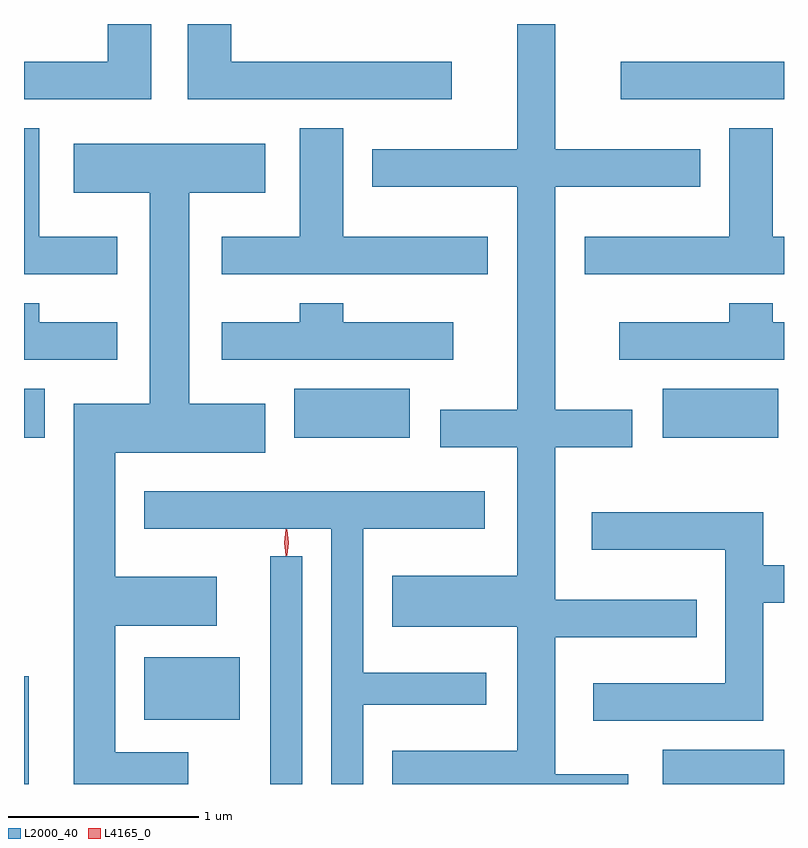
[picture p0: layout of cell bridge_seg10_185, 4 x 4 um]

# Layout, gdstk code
import gdstk
lib = gdstk.Library(unit=1e-6, precision=1e-09)
def R(c, l, rs):  # rectangles x0, y0, x1, y1
    for r in rs: c.add(gdstk.rectangle(r[:2], r[2:], *l))
def P(c, l, *ps):  # polygons
    for p in ps: c.add(gdstk.Polygon(p, *l))
L2000_40 = (2000, 40)
L4165_0 = (4165, 0)

bridge_seg10_185 = lib.new_cell('bridge_seg10_185')
R(bridge_seg10_185, L2000_40, [(1886.134,2140.973,1886.159,2141.539), (1887.431,2140.973,1887.599,2142.173), (1889.496,2140.973,1890.134,2141.154), (1886.766,2141.311,1887.269,2141.639), (1886.134,2142.796,1886.244,2143.054), (1887.556,2142.796,1888.164,2143.054), (1889.496,2142.796,1890.104,2143.054), (1889.276,2144.576,1890.134,2144.774)])
P(bridge_seg10_185, L2000_40, [(1888.384,2144.774),(1887.224,2144.774),(1887.224,2144.973),(1886.996,2144.973),(1886.996,2144.576),(1888.384,2144.576)],
  [(1886.804,2144.973),(1886.576,2144.973),(1886.576,2144.774),(1886.134,2144.774),(1886.134,2144.576),(1886.804,2144.576)],
  [(1889.314,2141.024),(1888.929,2141.024),(1888.929,2141.746),(1889.674,2141.746),(1889.674,2141.944),(1888.929,2141.944),(1888.929,2142.746),(1889.334,2142.746),(1889.334,2142.944),(1888.929,2142.944),(1888.929,2144.116),(1889.694,2144.116),(1889.694,2144.314),(1888.929,2144.314),(1888.929,2144.973),(1888.731,2144.973),(1888.731,2144.314),(1887.966,2144.314),(1887.966,2144.116),(1888.731,2144.116),(1888.731,2142.944),(1888.326,2142.944),(1888.326,2142.746),(1888.731,2142.746),(1888.731,2142.069),(1888.071,2142.069),(1888.071,2141.801),(1888.731,2141.801),(1888.731,2141.149),(1888.071,2141.149),(1888.071,2140.973),(1889.314,2140.973)],
  [(1888.574,2143.854),(1887.814,2143.854),(1887.814,2144.424),(1887.586,2144.424),(1887.586,2143.854),(1887.176,2143.854),(1887.176,2143.656),(1888.574,2143.656)],
  [(1890.134,2143.854),(1890.074,2143.854),(1890.074,2144.424),(1889.846,2144.424),(1889.846,2143.854),(1889.086,2143.854),(1889.086,2143.656),(1890.134,2143.656)],
  [(1886.624,2143.854),(1886.214,2143.854),(1886.214,2144.424),(1886.134,2144.424),(1886.134,2143.656),(1886.624,2143.656)],
  [(1886.999,2141.139),(1886.614,2141.139),(1886.614,2141.806),(1887.149,2141.806),(1887.149,2142.064),(1886.614,2142.064),(1886.614,2142.716),(1887.404,2142.716),(1887.404,2142.974),(1887.004,2142.974),(1887.004,2144.086),(1887.404,2144.086),(1887.404,2144.344),(1886.396,2144.344),(1886.396,2144.086),(1886.796,2144.086),(1886.796,2142.974),(1886.396,2142.974),(1886.396,2140.973),(1886.999,2140.973)],
  [(1888.394,2143.404),(1887.814,2143.404),(1887.814,2143.504),(1887.586,2143.504),(1887.586,2143.404),(1887.176,2143.404),(1887.176,2143.206),(1888.394,2143.206)],
  [(1890.134,2143.404),(1890.074,2143.404),(1890.074,2143.504),(1889.846,2143.504),(1889.846,2143.404),(1889.266,2143.404),(1889.266,2143.206),(1890.134,2143.206)],
  [(1886.624,2143.404),(1886.214,2143.404),(1886.214,2143.504),(1886.134,2143.504),(1886.134,2143.206),(1886.624,2143.206)],
  [(1887.919,2141.391),(1888.568,2141.391),(1888.568,2141.559),(1887.919,2141.559),(1887.919,2142.316),(1888.559,2142.316),(1888.559,2142.514),(1886.766,2142.514),(1886.766,2142.316),(1887.751,2142.316),(1887.751,2140.973),(1887.919,2140.973)],
  [(1890.024,2141.926),(1890.134,2141.926),(1890.134,2142.124),(1890.024,2142.124),(1890.024,2142.404),(1889.121,2142.404),(1889.121,2142.206),(1889.826,2142.206),(1889.826,2141.504),(1889.131,2141.504),(1889.131,2141.306),(1890.024,2141.306)])
P(bridge_seg10_185, L4165_0, [(1887.518,2142.178),(1887.518,2142.178),(1887.508,2142.244),(1887.518,2142.31),(1887.519,2142.311),(1887.519,2142.31),(1887.528,2142.244),(1887.519,2142.178)],
  [(1887.513,2142.174),(1887.512,2142.175),(1887.503,2142.244),(1887.512,2142.313),(1887.513,2142.314),(1887.513,2142.313),(1887.523,2142.244),(1887.513,2142.175)])

lib.write_gds('bridge_seg10_185.gds')
